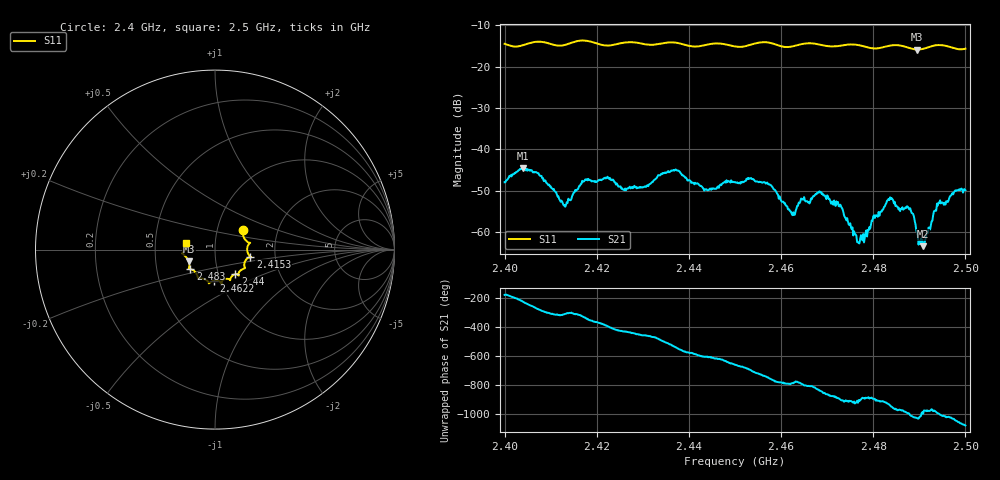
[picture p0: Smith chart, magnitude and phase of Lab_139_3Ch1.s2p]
# Hz S RI R
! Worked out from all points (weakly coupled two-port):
!   601 points, 2.4 GHz to 2.5 GHz, reference 50 ohm
!   highest |S21| = -44.54 dB at 2.404 GHz (marker M1); lowest = -63.4 dB at 2.4908 GHz (marker M2)
!   lowest |S11| = -15.9 dB at 2.4895 GHz (marker M3), VSWR 1.38, Z = 36.9 - j4.99 ohm
!   |S11| at or under -10 dB: start of sweep to end of sweep
!   S12 and S22 are empty: the file has one direction only
!   S11 on the Smith chart (normalised r, x): 2.4 GHz: 1.33, +0.29; 2.4153 GHz: 1.48, -0.12; 2.44 GHz: 1.21, -0.34; 2.4622 GHz: 0.93, -0.33; 2.483 GHz: 0.74, -0.17; 2.5 GHz: 0.72, +0.06
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2.4e9  0.1551 0.1065  -0.00398 -0.000126  0 0  0 0
2.404e9  0.1747 0.048  -0.00416 0.00423  0 0  0 0
2.412833e9  0.1806 -0.0123  0.00142 0.00154  0 0  0 0
2.415333e9  0.1964 -0.0386  0.00215 0.00239  0 0  0 0
2.416667e9  0.2019 -0.0428  0.00308 0.00225  0 0  0 0
2.422333e9  0.166 -0.0682  0.0038 -0.00269  0 0  0 0
2.426167e9  0.1673 -0.1009  0.00103 -0.00319  0 0  0 0
2.433333e9  0.1312 -0.1337  -0.00245 -0.0042  0 0  0 0
2.44e9  0.1141 -0.1368  -0.00342 0.00251  0 0  0 0
2.45e9  0.0647 -0.1626  0.00205 0.00345  0 0  0 0
2.457333e9  0.0388 -0.191  0.00321 -0.00198  0 0  0 0
2.462167e9  -0.00737 -0.1738  0.000607 -0.00165  0 0  0 0
2.466667e9  -0.0342 -0.1877  6.2e-05 -0.00249  0 0  0 0
2.4725e9  -0.075 -0.1607  -0.00203 -0.000336  0 0  0 0
2.477e9  -0.096 -0.1531  -0.000714 0.000144  0 0  0 0
2.483e9  -0.1377 -0.1095  -0.00216 0.00104  0 0  0 0
2.483333e9  -0.14 -0.1092  -0.00212 0.00135  0 0  0 0
2.487833e9  -0.1426 -0.0882  0.000295 0.00185  0 0  0 0
2.4895e9  -0.1463 -0.0658  0.0006 0.000771  0 0  0 0
2.490833e9  -0.1567 -0.0476  9.11e-05 0.000668  0 0  0 0
2.494333e9  -0.1804 -0.0219  0.000417 0.0022  0 0  0 0
2.5e9  -0.1596 0.0393  0.0032 5.49e-05  0 0  0 0
